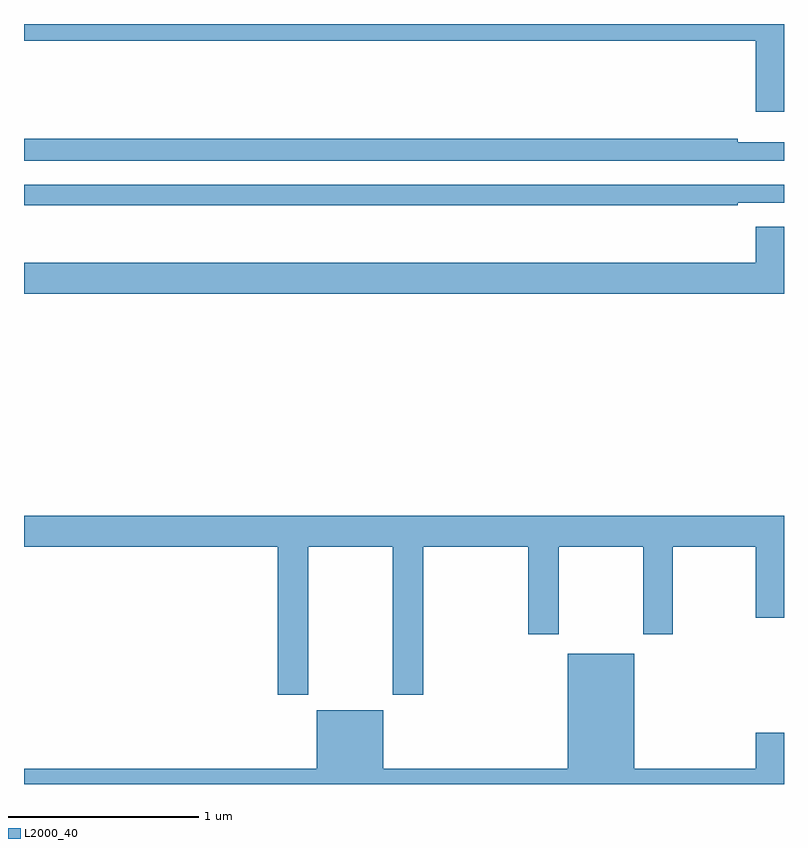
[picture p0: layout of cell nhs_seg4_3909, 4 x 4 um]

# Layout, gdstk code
import gdstk
lib = gdstk.Library(unit=1e-6, precision=1e-09)
def P(c, l, *ps):  # polygons
    for p in ps: c.add(gdstk.Polygon(p, *l))
L2000_40 = (2000, 40)

nhs_seg4_3909 = lib.new_cell('nhs_seg4_3909')
P(nhs_seg4_3909, L2000_40, [(321,804.9),(317,804.9),(317,804.812),(320.852,804.812),(320.852,804.438),(321,804.438)],
  [(321,804.277),(320.756,804.277),(320.756,804.296),(317,804.296),(317,804.18),(321,804.18)],
  [(320.756,803.958),(321,803.958),(321,804.054),(317,804.054),(317,803.946),(320.756,803.946)],
  [(321,803.833),(320.852,803.833),(320.852,803.644),(317,803.644),(317,803.48),(321,803.48)],
  [(318.495,802.148),(318.94,802.148),(318.94,801.369),(319.1,801.369),(319.1,802.148),(319.655,802.148),(319.655,801.687),(319.815,801.687),(319.815,802.148),(320.26,802.148),(320.26,801.687),(320.415,801.687),(320.415,802.148),(320.852,802.148),(320.852,801.774),(321,801.774),(321,802.312),(317,802.312),(317,802.148),(318.335,802.148),(318.335,801.369),(318.495,801.369)],
  [(317,800.9),(321,800.9),(321,801.169),(320.852,801.169),(320.852,800.98),(320.212,800.98),(320.212,801.586),(319.862,801.586),(319.862,800.98),(318.892,800.98),(318.892,801.289),(318.542,801.289),(318.542,800.98),(317,800.98)])

lib.write_gds('nhs_seg4_3909.gds')
